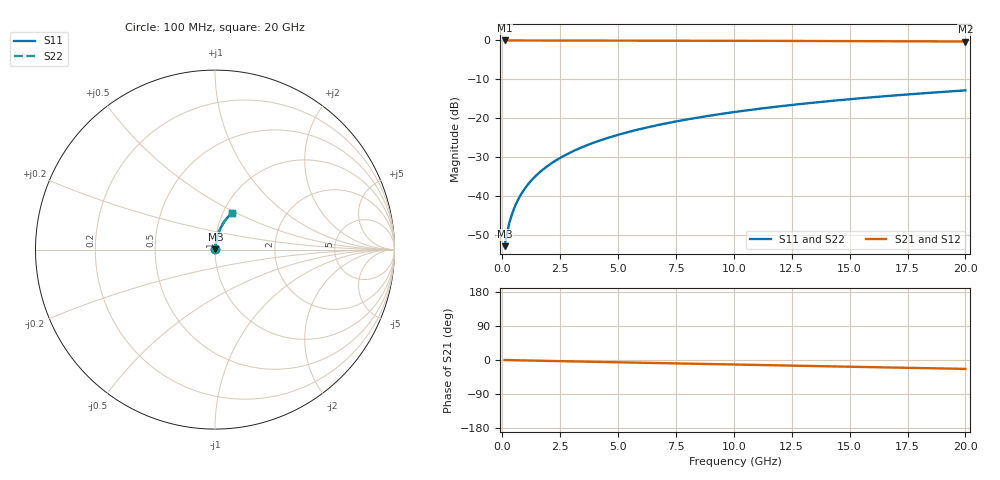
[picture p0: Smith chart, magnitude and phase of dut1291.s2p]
! Touchstone file exported from HFSS 2026.1.0
!  File:  C:/ffzhzh/LocalFiles/Ansys_Project_Files/temp_train_BSMRDL_1291_1783178013_51560.aedt
!  Generated:  11:14:46 PM Jul  4, 2026
!  Design:  BSMRDL
!  Project:  temp_train_BSMRDL_1291_1783178013_51560
! Variables:
!  h_bsmrdl = 2.81um
!  h_ox = 20um
!  h_rdl = 5um
!  h_sub = 80um
!  h_tmrdl = 5um
!  h_tsv = 80um
!  h_via = 3um
!  l_bsmrdl = 304.95um
!  l_sub = 704.95um
!  l_tmrdl = 200um
!  m_sub = 200um
!  pitch = 51.87um
!  r_tsv = 6um
!  s_tmrdl = 10um
!  w_bsmrdl = 25.87um
!  w_sub = 500um
!  w_tmrdl = 12um
!  x_tsv_center1 = 206um
!  x_tsv_center2 = 536.82um
!  x_tsv_center3 = 748.82um
!  x_tsv_center4 = 1079.64um
!  x_tsv_center5 = 1291.64um
!  x_tsv_center6 = 1622.46um
# GHz S MA R 50.000000
! Terminal data exported
! Port[1] = BSM_RDL1_1_T1
! Port[2] = BSM_RDL1_1_T2
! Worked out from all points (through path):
!   200 points, 100 MHz to 20 GHz, reference 50 ohm
!   highest |S21| = -0.02 dB at 100 MHz (marker M1); lowest = -0.3 dB at 20 GHz (marker M2)
!   group delay of S21, straight-line fit = 3.26 ps
!   lowest |S11| = -53.0 dB at 100 MHz (marker M3), VSWR 1.00, Z = 50.2 + j0.136 ohm
!   |S11| at or under -10 dB: start of sweep to end of sweep
!   |S22| runs from -53.0 to -12.9 dB; largest |S21 - S12| = 4.7e-15
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0.1  0.002243 37.1  0.9982 -0.1  0.9982 -0.1  0.002243 37.1
! Gamma 0 0 0 0
! Port Impedance 50 0 50 0
0.2  0.003262 55.0  0.9981 -0.3  0.9981 -0.3  0.003262 55.0
0.3  0.004415 63.4  0.998 -0.4  0.998 -0.4  0.004415 63.4
0.4  0.005591 68.1  0.998 -0.5  0.998 -0.5  0.005591 68.1
0.5  0.006768 71.2  0.9979 -0.6  0.9979 -0.6  0.006768 71.2
0.6  0.007945 73.4  0.9978 -0.7  0.9978 -0.7  0.007945 73.4
0.8  0.0103 76.4  0.9977 -1.0  0.9977 -1.0  0.0103 76.4
1.1  0.01387 79.0  0.9976 -1.3  0.9976 -1.3  0.01387 79.0
1.3  0.01626 80.1  0.9975 -1.6  0.9975 -1.6  0.01626 80.1
1.6  0.01987 81.1  0.9974 -1.9  0.9974 -1.9  0.01987 81.1
2.1  0.0259 82.0  0.9972 -2.6  0.9972 -2.6  0.0259 82.0
2.7  0.03316 82.3  0.9969 -3.3  0.9969 -3.3  0.03316 82.3
3.5  0.04282 82.1  0.9964 -4.2  0.9964 -4.2  0.04282 82.1
4.2  0.05125 81.7  0.9958 -5.1  0.9958 -5.1  0.05125 81.7
5  0.06084 81.1  0.9951 -6.0  0.9951 -6.0  0.06084 81.1
5.9  0.07156 80.3  0.9942 -7.1  0.9942 -7.1  0.07156 80.3
6.8  0.08221 79.4  0.9932 -8.2  0.9932 -8.2  0.08221 79.4
8.3  0.09976 77.8  0.9912 -10.0  0.9912 -10.0  0.09976 77.8
10.1  0.1205 75.9  0.9884 -12.1  0.9884 -12.1  0.1205 75.9
13.4  0.1575 72.2  0.9824 -15.9  0.9824 -15.9  0.1575 72.2
16.7  0.1931 68.6  0.9754 -19.7  0.9754 -19.7  0.1931 68.6
20  0.2271 65.0  0.9675 -23.4  0.9675 -23.4  0.2271 65.0
